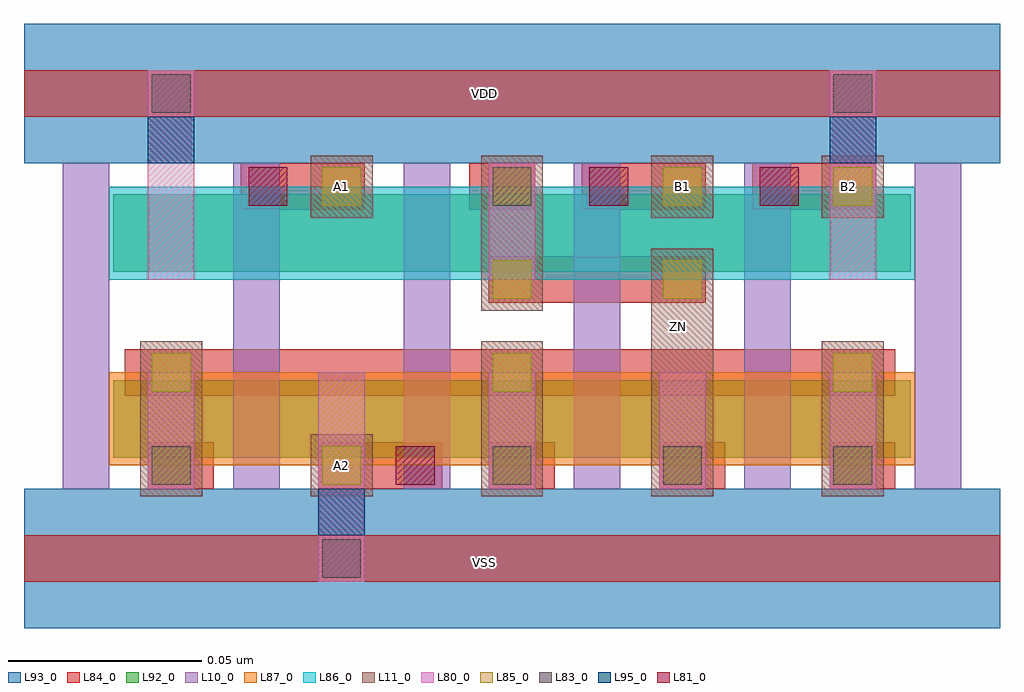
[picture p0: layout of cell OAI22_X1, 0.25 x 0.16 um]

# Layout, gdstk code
import gdstk
lib = gdstk.Library(unit=1e-6, precision=1e-09)
def R(c, l, rs):  # rectangles x0, y0, x1, y1
    for r in rs: c.add(gdstk.rectangle(r[:2], r[2:], *l))
def A(c, l, x, y, w, h, nx, ny, dx, dy):  # array of equal rectangles
    R(c, l, [(x+i*dx, y+j*dy, x+i*dx+w, y+j*dy+h) for i in range(nx) for j in range(ny)])
L10_0 = (10, 0)
L11_0 = (11, 0)
L80_0 = (80, 0)
L81_0 = (81, 0)
L83_0 = (83, 0)
L84_0 = (84, 0)
L85_0 = (85, 0)
L86_0 = (86, 0)
L87_0 = (87, 0)
L92_0 = (92, 0)
L93_0 = (93, 0)
L95_0 = (95, 0)

oai22_x1 = lib.new_cell('OAI22_X1')
A(oai22_x1, L10_0, -0.005, 0.018, 0.012, 0.084, 6, 1, 0.044, 0)
A(oai22_x1, L11_0, 0.015, 0.016, 0.016, 0.04, 3, 1, 0.088, 0)
R(oai22_x1, L11_0, [(0.059,0.016,0.075,0.032), (0.147,0.016,0.163,0.08), (0.103,0.064,0.119,0.104), (0.059,0.088,0.075,0.104), (0.147,0.088,0.163,0.104), (0.191,0.088,0.207,0.104)])
A(oai22_x1, L80_0, 0.105, 0.018, 0.012, 0.03, 3, 1, 0.044, 0)
R(oai22_x1, L80_0, [(0.061,-0.006,0.073,0.048), (0.017,0.018,0.029,0.048), (0.017,0.072,0.029,0.126), (0.105,0.072,0.117,0.102), (0.193,0.072,0.205,0.126)])
R(oai22_x1, L81_0, [(0.081,0.019,0.091,0.029), (0.043,0.091,0.053,0.101), (0.131,0.091,0.141,0.101), (0.175,0.091,0.185,0.101)])
A(oai22_x1, L83_0, 0.106, 0.019, 0.01, 0.01, 3, 1, 0.044, 0)
R(oai22_x1, L83_0, [(0.062,-0.005,0.072,0.005), (0.018,0.019,0.028,0.029), (0.106,0.091,0.116,0.101), (0.018,0.115,0.028,0.125), (0.194,0.115,0.204,0.125)])
A(oai22_x1, L84_0, 0.105, 0.018, 0.017, 0.012, 3, 1, 0.044, 0)
R(oai22_x1, L84_0, [(-0.015,-0.006,0.237,0.006), (0.017,0.018,0.034,0.03), (0.061,0.018,0.093,0.03), (0.011,0.042,0.21,0.054), (0.105,0.066,0.161,0.078), (0.041,0.09,0.073,0.102), (0.1,0.09,0.117,0.102), (0.129,0.09,0.161,0.102), (0.173,0.09,0.205,0.102), (-0.015,0.114,0.237,0.126)])
A(oai22_x1, L85_0, 0.018, 0.019, 0.01, 0.01, 5, 1, 0.044, 0)
A(oai22_x1, L85_0, 0.018, 0.043, 0.01, 0.01, 3, 1, 0.088, 0)
A(oai22_x1, L85_0, 0.062, 0.091, 0.01, 0.01, 4, 1, 0.044, 0)
R(oai22_x1, L85_0, [(0.106,0.067,0.116,0.077), (0.15,0.067,0.16,0.077)])
R(oai22_x1, L86_0, [(0.007,0.072,0.215,0.096)])
R(oai22_x1, L87_0, [(0.007,0.024,0.215,0.048)])
R(oai22_x1, L92_0, [(0.008,0.026,0.214,0.046), (0.008,0.074,0.214,0.094)])
R(oai22_x1, L93_0, [(-0.015,-0.018,0.237,0.018), (-0.015,0.102,0.237,0.138)])
R(oai22_x1, L95_0, [(0.061,0.006,0.073,0.018), (0.017,0.102,0.029,0.114), (0.193,0.102,0.205,0.114)])
oai22_x1.add(gdstk.Label('VDD', (0.104,0.12), layer=88, texttype=0))
oai22_x1.add(gdstk.Label('VSS', (0.104,-0.001), layer=88, texttype=0))
oai22_x1.add(gdstk.Label('ZN', (0.154,0.06), layer=31, texttype=0))
oai22_x1.add(gdstk.Label('B2', (0.198,0.096), layer=31, texttype=0))
oai22_x1.add(gdstk.Label('B1', (0.155,0.096), layer=31, texttype=0))
oai22_x1.add(gdstk.Label('A1', (0.067,0.096), layer=31, texttype=0))
oai22_x1.add(gdstk.Label('A2', (0.067,0.024), layer=31, texttype=0))

lib.write_gds('OAI22_X1.gds')
